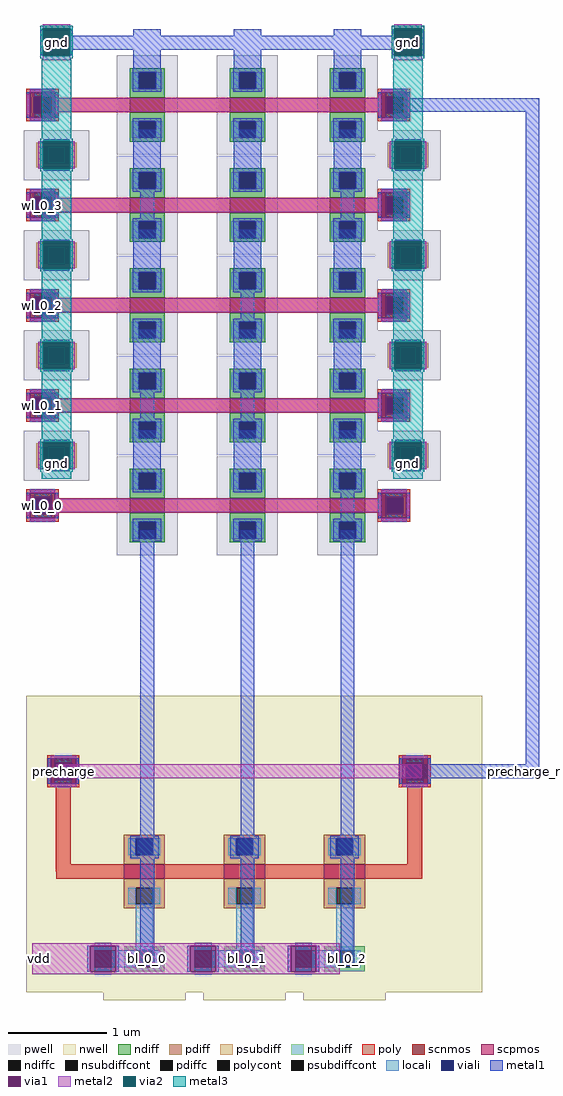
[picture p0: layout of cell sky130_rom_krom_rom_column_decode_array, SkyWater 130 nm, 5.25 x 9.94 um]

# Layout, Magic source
magic
tech sky130A
magscale 1 2
<< poly >>
rect 0 1756 66 1772
rect 0 1722 16 1756
rect 50 1754 66 1756
rect 716 1756 782 1772
rect 716 1754 732 1756
rect 50 1724 732 1754
rect 50 1722 66 1724
rect 0 1706 66 1722
rect 716 1722 732 1724
rect 766 1722 782 1756
rect 716 1706 782 1722
rect 0 1552 66 1568
rect 0 1518 16 1552
rect 50 1550 66 1552
rect 716 1552 782 1568
rect 716 1550 732 1552
rect 50 1520 732 1550
rect 50 1518 66 1520
rect 0 1502 66 1518
rect 716 1518 732 1520
rect 766 1518 782 1552
rect 716 1502 782 1518
rect 0 1348 66 1364
rect 0 1314 16 1348
rect 50 1346 66 1348
rect 716 1348 782 1364
rect 716 1346 732 1348
rect 50 1316 732 1346
rect 50 1314 66 1316
rect 0 1298 66 1314
rect 716 1314 732 1316
rect 766 1314 782 1348
rect 716 1298 782 1314
rect 0 1144 66 1160
rect 0 1110 16 1144
rect 50 1142 66 1144
rect 716 1144 782 1160
rect 716 1142 732 1144
rect 50 1112 732 1142
rect 50 1110 66 1112
rect 0 1094 66 1110
rect 716 1110 732 1112
rect 766 1110 782 1144
rect 716 1094 782 1110
rect 0 940 66 956
rect 0 906 16 940
rect 50 938 66 940
rect 716 940 782 956
rect 716 938 732 940
rect 50 908 732 938
rect 50 906 66 908
rect 0 890 66 906
rect 716 906 732 908
rect 766 906 782 940
rect 716 890 782 906
<< polycont >>
rect 16 1722 50 1756
rect 732 1722 766 1756
rect 16 1518 50 1552
rect 732 1518 766 1552
rect 16 1314 50 1348
rect 732 1314 766 1348
rect 16 1110 50 1144
rect 732 1110 766 1144
rect 16 906 50 940
rect 732 906 766 940
<< locali >>
rect 16 1756 50 1772
rect 16 1706 50 1722
rect 732 1756 766 1772
rect 732 1706 766 1722
rect 28 1620 44 1654
rect 78 1620 94 1654
rect 744 1620 760 1654
rect 794 1620 810 1654
rect 16 1552 50 1568
rect 16 1502 50 1518
rect 732 1552 766 1568
rect 732 1502 766 1518
rect 28 1416 44 1450
rect 78 1416 94 1450
rect 744 1416 760 1450
rect 794 1416 810 1450
rect 16 1348 50 1364
rect 16 1298 50 1314
rect 732 1348 766 1364
rect 732 1298 766 1314
rect 28 1212 44 1246
rect 78 1212 94 1246
rect 744 1212 760 1246
rect 794 1212 810 1246
rect 16 1144 50 1160
rect 16 1094 50 1110
rect 732 1144 766 1160
rect 732 1094 766 1110
rect 28 1008 44 1042
rect 78 1008 94 1042
rect 744 1008 760 1042
rect 794 1008 810 1042
rect 16 940 50 956
rect 16 890 50 906
rect 732 940 766 956
rect 732 890 766 906
<< viali >>
rect 16 1722 50 1756
rect 732 1722 766 1756
rect 44 1620 78 1654
rect 760 1620 794 1654
rect 16 1518 50 1552
rect 732 1518 766 1552
rect 44 1416 78 1450
rect 760 1416 794 1450
rect 16 1314 50 1348
rect 732 1314 766 1348
rect 44 1212 78 1246
rect 760 1212 794 1246
rect 16 1110 50 1144
rect 732 1110 766 1144
rect 44 1008 78 1042
rect 760 1008 794 1042
rect 16 906 50 940
rect 732 906 766 940
<< metal1 >>
rect 29 1840 35 1892
rect 87 1880 93 1892
rect 745 1880 751 1892
rect 87 1852 751 1880
rect 87 1840 93 1852
rect 745 1840 751 1852
rect 803 1840 809 1892
rect 8 1765 59 1772
rect 724 1765 775 1772
rect 1 1713 7 1765
rect 59 1713 65 1765
rect 717 1713 723 1765
rect 775 1753 781 1765
rect 775 1725 1045 1753
rect 775 1713 781 1725
rect 8 1706 59 1713
rect 724 1706 775 1713
rect 35 1663 87 1669
rect 35 1605 87 1611
rect 751 1663 803 1669
rect 751 1605 803 1611
rect 8 1561 59 1568
rect 724 1561 775 1568
rect 1 1509 7 1561
rect 59 1509 65 1561
rect 717 1509 723 1561
rect 775 1509 781 1561
rect 8 1502 59 1509
rect 724 1502 775 1509
rect 35 1459 87 1465
rect 35 1401 87 1407
rect 751 1459 803 1465
rect 751 1401 803 1407
rect 8 1357 59 1364
rect 724 1357 775 1364
rect 1 1305 7 1357
rect 59 1305 65 1357
rect 717 1305 723 1357
rect 775 1305 781 1357
rect 8 1298 59 1305
rect 724 1298 775 1305
rect 35 1255 87 1261
rect 35 1197 87 1203
rect 751 1255 803 1261
rect 751 1197 803 1203
rect 8 1153 59 1160
rect 724 1153 775 1160
rect 1 1101 7 1153
rect 59 1101 65 1153
rect 717 1101 723 1153
rect 775 1101 781 1153
rect 8 1094 59 1101
rect 724 1094 775 1101
rect 35 1051 87 1057
rect 35 993 87 999
rect 751 1051 803 1057
rect 751 993 803 999
rect 8 949 59 956
rect 724 949 775 956
rect 1 897 7 949
rect 59 897 65 949
rect 717 897 723 949
rect 775 897 781 949
rect 8 890 59 897
rect 724 890 775 897
rect 232 -14 260 873
rect 436 -14 464 873
rect 640 -14 668 873
rect 1017 396 1045 1725
rect 791 368 1045 396
<< via1 >>
rect 35 1840 87 1892
rect 751 1840 803 1892
rect 7 1756 59 1765
rect 7 1722 16 1756
rect 16 1722 50 1756
rect 50 1722 59 1756
rect 7 1713 59 1722
rect 723 1756 775 1765
rect 723 1722 732 1756
rect 732 1722 766 1756
rect 766 1722 775 1756
rect 723 1713 775 1722
rect 35 1654 87 1663
rect 35 1620 44 1654
rect 44 1620 78 1654
rect 78 1620 87 1654
rect 35 1611 87 1620
rect 751 1654 803 1663
rect 751 1620 760 1654
rect 760 1620 794 1654
rect 794 1620 803 1654
rect 751 1611 803 1620
rect 7 1552 59 1561
rect 7 1518 16 1552
rect 16 1518 50 1552
rect 50 1518 59 1552
rect 7 1509 59 1518
rect 723 1552 775 1561
rect 723 1518 732 1552
rect 732 1518 766 1552
rect 766 1518 775 1552
rect 723 1509 775 1518
rect 35 1450 87 1459
rect 35 1416 44 1450
rect 44 1416 78 1450
rect 78 1416 87 1450
rect 35 1407 87 1416
rect 751 1450 803 1459
rect 751 1416 760 1450
rect 760 1416 794 1450
rect 794 1416 803 1450
rect 751 1407 803 1416
rect 7 1348 59 1357
rect 7 1314 16 1348
rect 16 1314 50 1348
rect 50 1314 59 1348
rect 7 1305 59 1314
rect 723 1348 775 1357
rect 723 1314 732 1348
rect 732 1314 766 1348
rect 766 1314 775 1348
rect 723 1305 775 1314
rect 35 1246 87 1255
rect 35 1212 44 1246
rect 44 1212 78 1246
rect 78 1212 87 1246
rect 35 1203 87 1212
rect 751 1246 803 1255
rect 751 1212 760 1246
rect 760 1212 794 1246
rect 794 1212 803 1246
rect 751 1203 803 1212
rect 7 1144 59 1153
rect 7 1110 16 1144
rect 16 1110 50 1144
rect 50 1110 59 1144
rect 7 1101 59 1110
rect 723 1144 775 1153
rect 723 1110 732 1144
rect 732 1110 766 1144
rect 766 1110 775 1144
rect 723 1101 775 1110
rect 35 1042 87 1051
rect 35 1008 44 1042
rect 44 1008 78 1042
rect 78 1008 87 1042
rect 35 999 87 1008
rect 751 1042 803 1051
rect 751 1008 760 1042
rect 760 1008 794 1042
rect 794 1008 803 1042
rect 751 999 803 1008
rect 7 940 59 949
rect 7 906 16 940
rect 16 906 50 940
rect 50 906 59 940
rect 7 897 59 906
rect 723 940 775 949
rect 723 906 732 940
rect 732 906 766 940
rect 766 906 775 940
rect 723 897 775 906
<< metal2 >>
rect 33 1895 89 1904
rect 33 1830 89 1839
rect 749 1895 805 1904
rect 749 1830 805 1839
rect 7 1765 59 1771
rect 1 1718 7 1761
rect 723 1765 775 1771
rect 59 1753 65 1761
rect 717 1753 723 1761
rect 59 1725 723 1753
rect 59 1718 65 1725
rect 717 1718 723 1725
rect 7 1707 59 1713
rect 775 1718 781 1761
rect 723 1707 775 1713
rect 24 1609 33 1665
rect 89 1609 98 1665
rect 740 1609 749 1665
rect 805 1609 814 1665
rect 7 1561 59 1567
rect 1 1514 7 1557
rect 723 1561 775 1567
rect 59 1549 65 1557
rect 717 1549 723 1557
rect 59 1521 723 1549
rect 59 1514 65 1521
rect 717 1514 723 1521
rect 7 1503 59 1509
rect 775 1514 781 1557
rect 723 1503 775 1509
rect 24 1405 33 1461
rect 89 1405 98 1461
rect 740 1405 749 1461
rect 805 1405 814 1461
rect 7 1357 59 1363
rect 1 1310 7 1353
rect 723 1357 775 1363
rect 59 1345 65 1353
rect 717 1345 723 1353
rect 59 1317 723 1345
rect 59 1310 65 1317
rect 717 1310 723 1317
rect 7 1299 59 1305
rect 775 1310 781 1353
rect 723 1299 775 1305
rect 24 1201 33 1257
rect 89 1201 98 1257
rect 740 1201 749 1257
rect 805 1201 814 1257
rect 7 1153 59 1159
rect 1 1106 7 1149
rect 723 1153 775 1159
rect 59 1141 65 1149
rect 717 1141 723 1149
rect 59 1113 723 1141
rect 59 1106 65 1113
rect 717 1106 723 1113
rect 7 1095 59 1101
rect 775 1106 781 1149
rect 723 1095 775 1101
rect 24 997 33 1053
rect 89 997 98 1053
rect 740 997 749 1053
rect 805 997 814 1053
rect 7 949 59 955
rect 1 902 7 945
rect 723 949 775 955
rect 59 937 65 945
rect 717 937 723 945
rect 59 909 723 937
rect 59 902 65 909
rect 717 902 723 909
rect 7 891 59 897
rect 775 902 781 945
rect 723 891 775 897
rect 61 368 89 396
rect 12 -32 40 32
<< via2 >>
rect 33 1892 89 1895
rect 33 1840 35 1892
rect 35 1840 87 1892
rect 87 1840 89 1892
rect 33 1839 89 1840
rect 749 1892 805 1895
rect 749 1840 751 1892
rect 751 1840 803 1892
rect 803 1840 805 1892
rect 749 1839 805 1840
rect 33 1663 89 1665
rect 33 1611 35 1663
rect 35 1611 87 1663
rect 87 1611 89 1663
rect 33 1609 89 1611
rect 749 1663 805 1665
rect 749 1611 751 1663
rect 751 1611 803 1663
rect 803 1611 805 1663
rect 749 1609 805 1611
rect 33 1459 89 1461
rect 33 1407 35 1459
rect 35 1407 87 1459
rect 87 1407 89 1459
rect 33 1405 89 1407
rect 749 1459 805 1461
rect 749 1407 751 1459
rect 751 1407 803 1459
rect 803 1407 805 1459
rect 749 1405 805 1407
rect 33 1255 89 1257
rect 33 1203 35 1255
rect 35 1203 87 1255
rect 87 1203 89 1255
rect 33 1201 89 1203
rect 749 1255 805 1257
rect 749 1203 751 1255
rect 751 1203 803 1255
rect 803 1203 805 1255
rect 749 1201 805 1203
rect 33 1051 89 1053
rect 33 999 35 1051
rect 35 999 87 1051
rect 87 999 89 1051
rect 33 997 89 999
rect 749 1051 805 1053
rect 749 999 751 1051
rect 751 999 803 1051
rect 803 999 805 1051
rect 749 997 805 999
<< metal3 >>
rect 28 1895 94 1900
rect 28 1839 33 1895
rect 89 1839 94 1895
rect 28 1834 94 1839
rect 744 1895 810 1900
rect 744 1839 749 1895
rect 805 1839 810 1895
rect 744 1834 810 1839
rect 31 1670 91 1834
rect 747 1670 807 1834
rect 28 1665 94 1670
rect 28 1609 33 1665
rect 89 1609 94 1665
rect 28 1604 94 1609
rect 744 1665 810 1670
rect 744 1609 749 1665
rect 805 1609 810 1665
rect 744 1604 810 1609
rect 31 1466 91 1604
rect 747 1466 807 1604
rect 28 1461 94 1466
rect 28 1405 33 1461
rect 89 1405 94 1461
rect 28 1400 94 1405
rect 744 1461 810 1466
rect 744 1405 749 1461
rect 805 1405 810 1461
rect 744 1400 810 1405
rect 31 1262 91 1400
rect 747 1262 807 1400
rect 28 1257 94 1262
rect 28 1201 33 1257
rect 89 1201 94 1257
rect 28 1196 94 1201
rect 744 1257 810 1262
rect 744 1201 749 1257
rect 805 1201 810 1257
rect 744 1196 810 1201
rect 31 1058 91 1196
rect 747 1058 807 1196
rect 28 1053 94 1058
rect 28 997 33 1053
rect 89 997 94 1053
rect 28 992 94 997
rect 744 1053 810 1058
rect 744 997 749 1053
rect 805 997 810 1053
rect 744 992 810 997
rect 31 978 91 992
rect 747 978 807 992
use sky130_rom_krom_rom_base_one_cell  sky130_rom_krom_rom_base_one_cell_0
transform 1 0 512 0 1 1689
box 0 -51 204 204
use sky130_rom_krom_rom_base_one_cell  sky130_rom_krom_rom_base_one_cell_1
transform 1 0 308 0 1 1689
box 0 -51 204 204
use sky130_rom_krom_rom_base_one_cell  sky130_rom_krom_rom_base_one_cell_2
transform 1 0 104 0 1 1689
box 0 -51 204 204
use sky130_rom_krom_rom_base_one_cell  sky130_rom_krom_rom_base_one_cell_3
transform 1 0 308 0 1 1485
box 0 -51 204 204
use sky130_rom_krom_rom_base_one_cell  sky130_rom_krom_rom_base_one_cell_4
transform 1 0 512 0 1 1281
box 0 -51 204 204
use sky130_rom_krom_rom_base_one_cell  sky130_rom_krom_rom_base_one_cell_5
transform 1 0 104 0 1 1281
box 0 -51 204 204
use sky130_rom_krom_rom_base_one_cell  sky130_rom_krom_rom_base_one_cell_6
transform 1 0 512 0 1 1077
box 0 -51 204 204
use sky130_rom_krom_rom_base_one_cell  sky130_rom_krom_rom_base_one_cell_7
transform 1 0 308 0 1 873
box 0 -51 204 204
use sky130_rom_krom_rom_base_one_cell  sky130_rom_krom_rom_base_one_cell_8
transform 1 0 104 0 1 873
box 0 -51 204 204
use sky130_rom_krom_rom_base_zero_cell  sky130_rom_krom_rom_base_zero_cell_0
transform 1 0 512 0 1 1485
box 0 -51 204 204
use sky130_rom_krom_rom_base_zero_cell  sky130_rom_krom_rom_base_zero_cell_1
transform 1 0 104 0 1 1485
box 0 -51 204 204
use sky130_rom_krom_rom_base_zero_cell  sky130_rom_krom_rom_base_zero_cell_2
transform 1 0 308 0 1 1281
box 0 -51 204 204
use sky130_rom_krom_rom_base_zero_cell  sky130_rom_krom_rom_base_zero_cell_3
transform 1 0 308 0 1 1077
box 0 -51 204 204
use sky130_rom_krom_rom_base_zero_cell  sky130_rom_krom_rom_base_zero_cell_4
transform 1 0 104 0 1 1077
box 0 -51 204 204
use sky130_rom_krom_rom_base_zero_cell  sky130_rom_krom_rom_base_zero_cell_5
transform 1 0 512 0 1 873
box 0 -51 204 204
use sky130_rom_krom_rom_poly_tap_1  sky130_rom_krom_rom_poly_tap_1_0
transform 1 0 716 0 1 1485
box -6 17 128 203
use sky130_rom_krom_rom_poly_tap_1  sky130_rom_krom_rom_poly_tap_1_1
transform 1 0 0 0 1 1485
box -6 17 128 203
use sky130_rom_krom_rom_poly_tap_1  sky130_rom_krom_rom_poly_tap_1_2
transform 1 0 716 0 1 1281
box -6 17 128 203
use sky130_rom_krom_rom_poly_tap_1  sky130_rom_krom_rom_poly_tap_1_3
transform 1 0 0 0 1 1281
box -6 17 128 203
use sky130_rom_krom_rom_poly_tap_1  sky130_rom_krom_rom_poly_tap_1_4
transform 1 0 716 0 1 1077
box -6 17 128 203
use sky130_rom_krom_rom_poly_tap_1  sky130_rom_krom_rom_poly_tap_1_5
transform 1 0 0 0 1 1077
box -6 17 128 203
use sky130_rom_krom_rom_poly_tap_1  sky130_rom_krom_rom_poly_tap_1_6
transform 1 0 716 0 1 873
box -6 17 128 203
use sky130_rom_krom_rom_poly_tap_1  sky130_rom_krom_rom_poly_tap_1_7
transform 1 0 0 0 1 873
box -6 17 128 203
use sky130_rom_krom_rom_poly_tap_2  sky130_rom_krom_rom_poly_tap_2_0
transform 1 0 716 0 1 1689
box 0 17 66 83
use sky130_rom_krom_rom_poly_tap_2  sky130_rom_krom_rom_poly_tap_2_1
transform 1 0 0 0 1 1689
box 0 17 66 83
use sky130_rom_krom_rom_precharge_array_1  sky130_rom_krom_rom_precharge_array_1_0
transform 1 0 0 0 1 128
box 0 -212 928 408
<< labels >>
rlabel metal2 s 61 368 89 396 4 precharge
port 3 nsew
rlabel metal2 s 19 909 47 937 4 wl_0_0
port 5 nsew
rlabel metal2 s 19 1113 47 1141 4 wl_0_1
port 7 nsew
rlabel metal2 s 19 1317 47 1345 4 wl_0_2
port 9 nsew
rlabel metal2 s 19 1521 47 1549 4 wl_0_3
port 11 nsew
rlabel metal1 s 232 -14 260 14 4 bl_0_0
port 13 nsew
rlabel metal1 s 436 -14 464 14 4 bl_0_1
port 15 nsew
rlabel metal1 s 640 -14 668 14 4 bl_0_2
port 17 nsew
rlabel metal1 s 1017 368 1045 396 4 precharge_r
port 19 nsew
rlabel metal3 s 747 978 807 1038 4 gnd
port 21 nsew
rlabel metal3 s 747 1836 807 1896 4 gnd
port 21 nsew
rlabel metal3 s 31 1836 91 1896 4 gnd
port 21 nsew
rlabel metal3 s 31 978 91 1038 4 gnd
port 21 nsew
rlabel metal2 s 12 -32 40 32 4 vdd
port 23 nsew
<< properties >>
string FIXED_BBOX 0 0 1045 870
<< end >>

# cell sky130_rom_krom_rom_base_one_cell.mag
magic
tech sky130A
magscale 1 2
<< pwell >>
rect 80 -51 204 151
<< scnmos >>
rect 106 35 178 65
<< ndiff >>
rect 106 117 178 125
rect 106 83 125 117
rect 159 83 178 117
rect 106 65 178 83
rect 106 17 178 35
rect 106 -17 125 17
rect 159 -17 178 17
rect 106 -25 178 -17
<< ndiffc >>
rect 125 83 159 117
rect 125 -17 159 17
<< poly >>
rect 0 35 106 65
rect 178 35 204 65
<< locali >>
rect 109 83 125 117
rect 159 83 175 117
rect 109 -17 125 17
rect 159 -17 175 17
<< viali >>
rect 125 83 159 117
rect 125 -17 159 17
<< metal1 >>
rect 114 123 170 204
rect 113 117 171 123
rect 113 83 125 117
rect 159 83 171 117
rect 113 77 171 83
rect 113 17 171 23
rect 113 -17 125 17
rect 159 -17 171 17
rect 113 -23 171 -17
<< labels >>
rlabel metal1 s 113 -23 171 23 4 S
port 3 nsew
rlabel metal1 s 113 77 171 123 4 D
port 5 nsew
rlabel poly s 142 50 142 50 4 G
port 6 nsew
<< properties >>
string FIXED_BBOX 80 -50 204 0
<< end >>

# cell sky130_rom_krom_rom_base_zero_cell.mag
magic
tech sky130A
magscale 1 2
<< pwell >>
rect 80 -51 204 151
<< scnmos >>
rect 106 35 178 65
<< ndiff >>
rect 106 117 178 125
rect 106 83 125 117
rect 159 83 178 117
rect 106 65 178 83
rect 106 17 178 35
rect 106 -17 125 17
rect 159 -17 178 17
rect 106 -25 178 -17
<< ndiffc >>
rect 125 83 159 117
rect 125 -17 159 17
<< poly >>
rect 0 35 106 65
rect 178 35 204 65
<< locali >>
rect 109 83 125 117
rect 159 83 175 117
rect 109 -17 125 17
rect 159 -17 175 17
<< viali >>
rect 125 83 159 117
rect 125 -17 159 17
<< metal1 >>
rect 114 123 170 204
rect 113 117 171 123
rect 113 83 125 117
rect 159 83 171 117
rect 113 77 171 83
rect 128 23 156 77
rect 113 17 171 23
rect 113 -17 125 17
rect 159 -17 171 17
rect 113 -23 171 -17
<< labels >>
rlabel metal1 s 113 -23 171 23 4 S
port 3 nsew
rlabel metal1 s 113 77 171 123 4 D
port 5 nsew
rlabel poly s 142 50 142 50 4 G
port 6 nsew
<< properties >>
string FIXED_BBOX 80 -50 204 0
<< end >>

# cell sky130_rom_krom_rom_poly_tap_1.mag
magic
tech sky130A
magscale 1 2
<< pwell >>
rect -6 101 128 203
<< psubdiff >>
rect 20 169 102 177
rect 20 135 44 169
rect 78 135 102 169
rect 20 127 102 135
<< psubdiffcont >>
rect 44 135 78 169
<< poly >>
rect 0 67 66 83
rect 0 33 16 67
rect 50 33 66 67
rect 0 17 66 33
<< polycont >>
rect 16 33 50 67
<< locali >>
rect 28 135 44 169
rect 78 135 94 169
rect 16 67 50 83
rect 16 17 50 33
<< viali >>
rect 16 33 50 67
<< metal1 >>
rect 1 24 7 76
rect 59 24 65 76
<< via1 >>
rect 7 67 59 76
rect 7 33 16 67
rect 16 33 50 67
rect 50 33 59 67
rect 7 24 59 33
<< metal2 >>
rect 7 76 59 82
rect 7 18 59 24
<< labels >>
rlabel metal2 s 19 36 47 64 4 poly_tap
port 1 nsew
rlabel locali s 61 152 61 152 4 active_tap
port 2 nsew
<< properties >>
string FIXED_BBOX -20 -3 86 0
<< end >>

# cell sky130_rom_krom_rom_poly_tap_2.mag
magic
tech sky130A
magscale 1 2
<< poly >>
rect 0 67 66 83
rect 0 33 16 67
rect 50 33 66 67
rect 0 17 66 33
<< polycont >>
rect 16 33 50 67
<< locali >>
rect 16 67 50 83
rect 16 17 50 33
<< viali >>
rect 16 33 50 67
<< metal1 >>
rect 1 24 7 76
rect 59 24 65 76
<< via1 >>
rect 7 67 59 76
rect 7 33 16 67
rect 16 33 50 67
rect 50 33 59 67
rect 7 24 59 33
<< metal2 >>
rect 7 76 59 82
rect 7 18 59 24
<< labels >>
rlabel metal2 s 19 36 47 64 4 poly_tap
port 1 nsew
<< properties >>
string FIXED_BBOX -20 -3 86 0
<< end >>

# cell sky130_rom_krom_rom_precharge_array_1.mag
magic
tech sky130A
magscale 1 2
<< nwell >>
rect 0 -196 928 408
<< poly >>
rect 60 65 90 240
rect 776 65 806 240
rect 60 50 806 65
rect 61 35 806 50
<< locali >>
rect 139 -111 173 -95
rect 139 -161 173 -145
rect 343 -111 377 -95
rect 343 -161 377 -145
rect 547 -111 581 -95
rect 547 -161 581 -145
<< viali >>
rect 139 -145 173 -111
rect 343 -145 377 -111
rect 547 -145 581 -111
<< metal1 >>
rect 226 86 254 114
rect 430 86 458 114
rect 634 86 662 114
rect 124 -154 130 -102
rect 182 -154 188 -102
rect 328 -154 334 -102
rect 386 -154 392 -102
rect 532 -154 538 -102
rect 590 -154 596 -102
<< via1 >>
rect 130 -111 182 -102
rect 130 -145 139 -111
rect 139 -145 173 -111
rect 173 -145 182 -111
rect 130 -154 182 -145
rect 334 -111 386 -102
rect 334 -145 343 -111
rect 343 -145 377 -111
rect 377 -145 386 -111
rect 334 -154 386 -145
rect 538 -111 590 -102
rect 538 -145 547 -111
rect 547 -145 581 -111
rect 581 -145 590 -111
rect 538 -154 590 -145
<< metal2 >>
rect 61 240 805 268
rect 12 -102 638 -96
rect 12 -154 130 -102
rect 182 -154 334 -102
rect 386 -154 538 -102
rect 590 -154 638 -102
rect 12 -160 638 -154
use sky130_rom_krom_precharge_cell  sky130_rom_krom_precharge_cell_0
transform 1 0 512 0 1 0
box 0 -212 232 184
use sky130_rom_krom_precharge_cell  sky130_rom_krom_precharge_cell_1
transform 1 0 308 0 1 0
box 0 -212 232 184
use sky130_rom_krom_precharge_cell  sky130_rom_krom_precharge_cell_2
transform 1 0 104 0 1 0
box 0 -212 232 184
use sky130_rom_krom_rom_poly_tap_3  sky130_rom_krom_rom_poly_tap_3_0
transform 1 0 758 0 1 204
box 0 17 66 83
use sky130_rom_krom_rom_poly_tap_3  sky130_rom_krom_rom_poly_tap_3_1
transform 1 0 42 0 1 204
box 0 17 66 83
<< labels >>
rlabel nwell s 928 408 928 408 4 upper right
rlabel metal2 s 61 240 89 268 4 gate
port 3 nsew
rlabel metal2 s 777 240 805 268 4 precharge_r
port 5 nsew
rlabel metal1 s 226 86 254 114 4 pre_bl0_out
port 7 nsew
rlabel metal1 s 430 86 458 114 4 pre_bl1_out
port 9 nsew
rlabel metal1 s 634 86 662 114 4 pre_bl2_out
port 11 nsew
rlabel metal2 s 12 -160 40 -96 4 vdd
port 13 nsew
<< properties >>
string FIXED_BBOX 535 -161 593 -160
<< end >>

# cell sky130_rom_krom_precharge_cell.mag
magic
tech sky130A
magscale 1 2
<< nwell >>
rect 52 179 220 184
rect 40 136 232 179
rect 0 -79 232 136
rect 0 -189 220 -79
rect 52 -212 220 -189
<< scpmos >>
rect 94 35 178 65
<< pdiff >>
rect 94 117 178 125
rect 94 83 119 117
rect 153 83 178 117
rect 94 65 178 83
rect 94 17 178 35
rect 94 -17 119 17
rect 153 -17 178 17
rect 94 -25 178 -17
<< pdiffc >>
rect 119 83 153 117
rect 119 -17 153 17
<< nsubdiff >>
rect 95 -111 177 -103
rect 95 -145 119 -111
rect 153 -145 177 -111
rect 95 -153 177 -145
<< nsubdiffcont >>
rect 119 -145 153 -111
<< poly >>
rect 0 35 94 65
rect 178 35 204 65
<< locali >>
rect 103 83 119 117
rect 153 83 169 117
rect 103 -17 119 17
rect 153 -17 169 17
rect 119 -111 153 -17
rect 35 -145 119 -111
rect 153 -145 169 -111
<< viali >>
rect 119 83 153 117
<< metal1 >>
rect 107 117 165 123
rect 107 83 119 117
rect 153 83 165 117
rect 107 77 165 83
<< labels >>
rlabel metal1 s 107 77 165 123 4 D
port 1 nsew
rlabel poly s 136 50 136 50 4 G
port 2 nsew
rlabel locali s 52 -128 52 -128 4 vdd
port 3 nsew
<< properties >>
string FIXED_BBOX 52 -212 220 -79
<< end >>

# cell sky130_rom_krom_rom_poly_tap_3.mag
magic
tech sky130A
magscale 1 2
<< poly >>
rect 0 67 66 83
rect 0 33 16 67
rect 50 33 66 67
rect 0 17 66 33
<< polycont >>
rect 16 33 50 67
<< locali >>
rect 16 67 50 83
rect 16 17 50 33
<< viali >>
rect 16 33 50 67
<< metal1 >>
rect 1 24 7 76
rect 59 24 65 76
<< via1 >>
rect 7 67 59 76
rect 7 33 16 67
rect 16 33 50 67
rect 50 33 59 67
rect 7 24 59 33
<< metal2 >>
rect 7 76 59 82
rect 7 18 59 24
<< labels >>
rlabel metal2 s 19 36 47 64 4 poly_tap
port 1 nsew
<< properties >>
string FIXED_BBOX -20 -3 86 0
<< end >>
